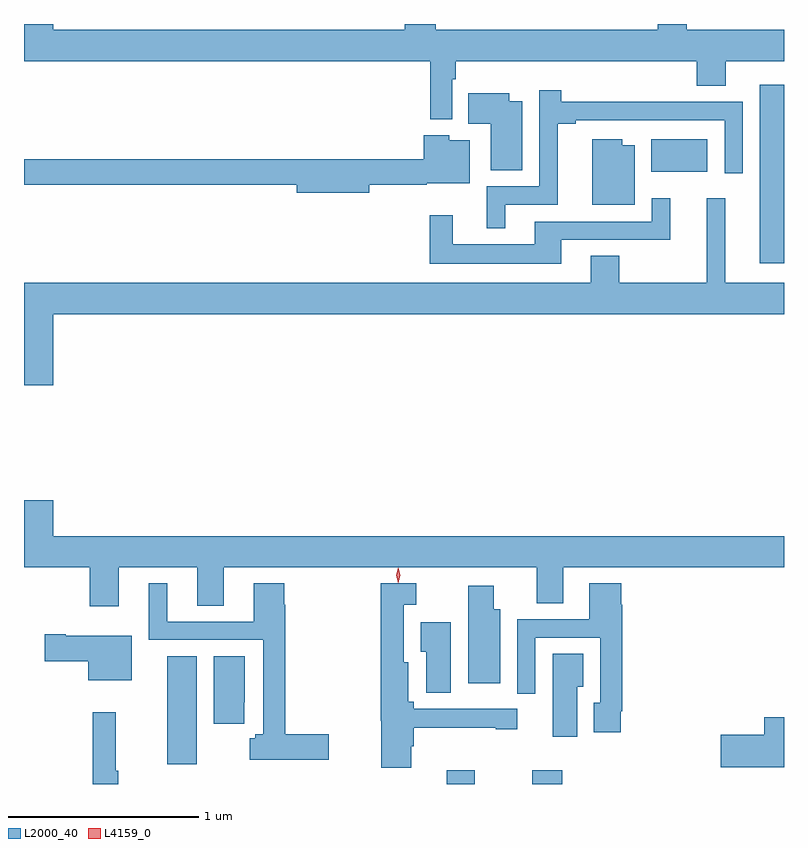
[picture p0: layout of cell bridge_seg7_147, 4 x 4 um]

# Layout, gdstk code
import gdstk
lib = gdstk.Library(unit=1e-6, precision=1e-09)
def R(c, l, rs):  # rectangles x0, y0, x1, y1
    for r in rs: c.add(gdstk.rectangle(r[:2], r[2:], *l))
def P(c, l, *ps):  # polygons
    for p in ps: c.add(gdstk.Polygon(p, *l))
L2000_40 = (2000, 40)
L4159_0 = (4159, 0)

bridge_seg7_147 = lib.new_cell('bridge_seg7_147')
R(bridge_seg7_147, L2000_40, [(514.895,1036.771,515.043,1036.843), (515.344,1036.771,515.504,1036.843), (513.425,1036.875,513.58,1037.444), (516.542,1039.512,516.67,1040.452), (515.972,1039.994,516.265,1040.164)])
P(bridge_seg7_147, L2000_40, [(514.923,1040.48),(514.943,1040.48),(514.943,1040.576),(516.212,1040.576),(516.212,1040.446),(516.364,1040.446),(516.364,1040.576),(516.67,1040.576),(516.67,1040.74),(516.157,1040.74),(516.157,1040.771),(516.005,1040.771),(516.005,1040.74),(514.838,1040.74),(514.838,1040.771),(514.673,1040.771),(514.673,1040.74),(512.824,1040.74),(512.824,1040.771),(512.67,1040.771),(512.67,1040.576),(514.807,1040.576),(514.807,1040.27),(514.923,1040.27)],
  [(515.203,1039.821),(515.48,1039.821),(515.48,1040.245),(515.575,1040.245),(515.575,1040.265),(516.357,1040.265),(516.357,1039.986),(516.453,1039.986),(516.453,1040.361),(516.128,1040.361),(516.128,1040.363),(515.498,1040.363),(515.498,1040.422),(515.382,1040.422),(515.382,1039.917),(515.105,1039.917),(515.105,1039.697),(515.203,1039.697)],
  [(515.293,1040.365),(515.224,1040.365),(515.224,1040.407),(515.008,1040.407),(515.008,1040.246),(515.126,1040.246),(515.126,1040.002),(515.293,1040.002)],
  [(514.486,1039.924),(514.791,1039.924),(514.791,1039.934),(515.017,1039.934),(515.017,1040.158),(514.908,1040.158),(514.908,1040.185),(514.775,1040.185),(514.775,1040.06),(512.67,1040.06),(512.67,1039.924),(514.106,1039.924),(514.106,1039.882),(514.486,1039.882)],
  [(515.884,1040.134),(515.818,1040.134),(515.818,1040.164),(515.66,1040.164),(515.66,1039.82),(515.884,1039.82)],
  [(515.497,1039.635),(516.071,1039.635),(516.071,1039.855),(515.973,1039.855),(515.973,1039.731),(515.357,1039.731),(515.357,1039.612),(514.927,1039.612),(514.927,1039.765),(514.806,1039.765),(514.806,1039.508),(515.497,1039.508)],
  [(512.824,1039.244),(516.67,1039.244),(516.67,1039.408),(516.362,1039.408),(516.362,1039.855),(516.263,1039.855),(516.263,1039.408),(515.802,1039.408),(515.802,1039.55),(515.654,1039.55),(515.654,1039.408),(512.67,1039.408),(512.67,1038.87),(512.824,1038.87)],
  [(513.169,1037.912),(513.581,1037.912),(513.581,1037.71),(513.721,1037.71),(513.721,1037.912),(515.369,1037.912),(515.369,1037.722),(515.509,1037.722),(515.509,1037.912),(516.67,1037.912),(516.67,1038.076),(512.824,1038.076),(512.824,1038.265),(512.67,1038.265),(512.67,1037.912),(513.017,1037.912),(513.017,1037.706),(513.169,1037.706)],
  [(514.708,1036.971),(514.721,1036.971),(514.721,1037.068),(515.153,1037.068),(515.153,1037.058),(515.265,1037.058),(515.265,1037.166),(514.72,1037.166),(514.72,1037.205),(514.693,1037.205),(514.693,1037.412),(514.669,1037.412),(514.669,1037.714),(514.735,1037.714),(514.735,1037.827),(514.548,1037.827),(514.548,1037.105),(514.55,1037.105),(514.55,1036.857),(514.708,1036.857)],
  [(515.812,1037.155),(515.819,1037.155),(515.819,1037.714),(515.813,1037.714),(515.813,1037.827),(515.645,1037.827),(515.645,1037.637),(515.265,1037.637),(515.265,1037.247),(515.361,1037.247),(515.361,1037.541),(515.703,1037.541),(515.703,1037.199),(515.669,1037.199),(515.669,1037.043),(515.812,1037.043)],
  [(514.273,1037.033),(514.046,1037.033),(514.046,1037.714),(514.04,1037.714),(514.04,1037.827),(513.878,1037.827),(513.878,1037.625),(513.424,1037.625),(513.424,1037.827),(513.326,1037.827),(513.326,1037.529),(513.93,1037.529),(513.93,1037.032),(513.888,1037.032),(513.888,1037.012),(513.859,1037.012),(513.859,1036.898),(514.273,1036.898)],
  [(515.176,1037.692),(515.143,1037.692),(515.143,1037.815),(515.009,1037.815),(515.009,1037.3),(515.176,1037.3)],
  [(514.915,1037.623),(514.757,1037.623),(514.757,1037.467),(514.787,1037.467),(514.787,1037.251),(514.915,1037.251)],
  [(513.238,1037.551),(512.89,1037.551),(512.89,1037.559),(512.778,1037.559),(512.778,1037.417),(513.008,1037.417),(513.008,1037.318),(513.238,1037.318)],
  [(515.581,1037.282),(515.614,1037.282),(515.614,1037.456),(515.453,1037.456),(515.453,1037.019),(515.581,1037.019)],
  [(513.829,1037.2),(513.832,1037.2),(513.832,1037.444),(513.668,1037.444),(513.668,1037.088),(513.829,1037.088)],
  [(513.167,1036.84),(513.152,1036.84),(513.152,1037.149),(513.031,1037.149),(513.031,1036.771),(513.167,1036.771)],
  [(516.67,1037.122),(516.566,1037.122),(516.566,1037.03),(516.336,1037.03),(516.336,1036.859),(516.67,1036.859)])
P(bridge_seg7_147, L4159_0, [(514.639,1037.828),(514.639,1037.828),(514.629,1037.869),(514.639,1037.909),(514.639,1037.909),(514.64,1037.909),(514.649,1037.869),(514.64,1037.828)])

lib.write_gds('bridge_seg7_147.gds')
